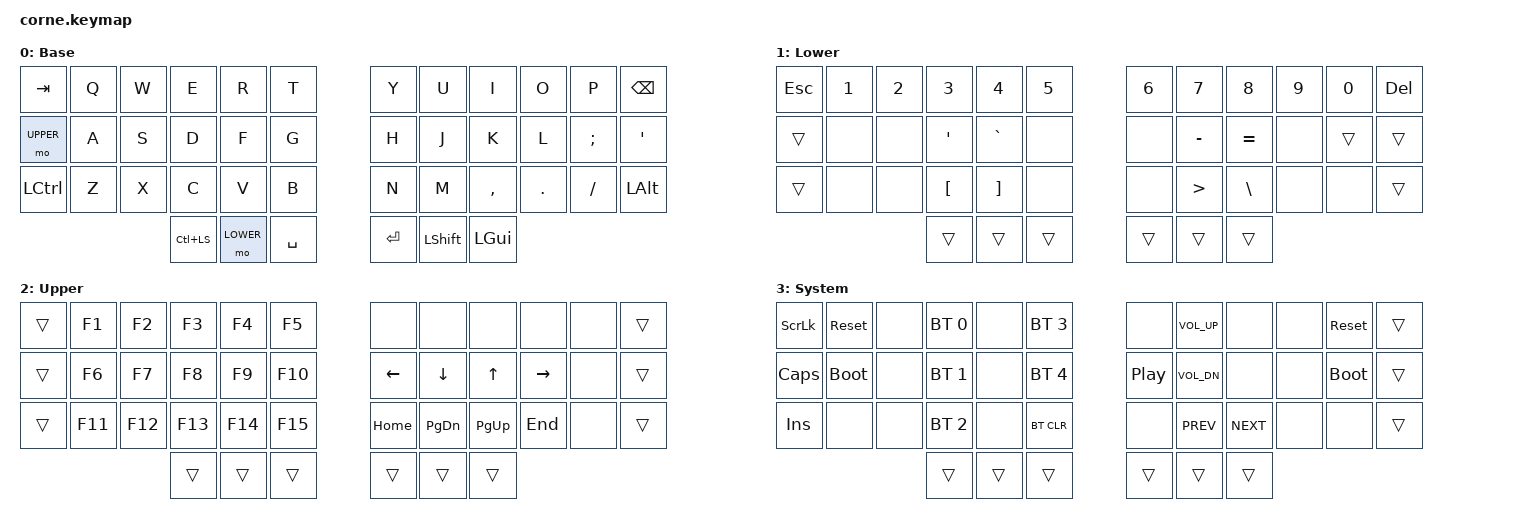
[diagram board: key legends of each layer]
/*
 * Copyright (c) 2020 The ZMK Contributors
 *
 * SPDX-License-Identifier: MIT
 */

// Author: Ryan H.
// Filename: corne.keymap
// Keymap settings for a 3x6 column Corne.

#include <behaviors.dtsi>
#include <dt-bindings/zmk/keys.h>
#include <dt-bindings/zmk/bt.h>
#include <dt-bindings/zmk/outputs.h>

// Define layers as numbers
#define BASE 0
#define LOWER 1
#define UPPER 2
#define SYSTEM 3

// Macros:
#define ctsh LC(LS)
#define meh LC(LS(LALT))
#define hyper LC(LS(LA(LGUI)))

&lt {
    tapping-term-ms = <150>;
};

&mt {
    tapping-term-ms = <150>;
};

/ {
    conditional_layers {
        compatible = "zmk,conditional-layers";
        tri_layer {
            if-layers = <LOWER UPPER>;
            then-layer = <SYSTEM>;
        };
    };

    macros {
        dw: delete_word {
            label = "DELETE_WORD";
            compatible = "zmk,behavior-macro";
            #binding-cells = <0>;
            bindings
                = <&macro_press &kp LCTRL>
                , <&macro_tap &kp BSPC>
                , <&macro_release &kp LCTRL>
                ;
        };
    };

    keymap {
        compatible = "zmk,keymap";
        default_layer {
            label = "Base";
            bindings = <
//╭──────────┬──────────┬──────────┬──────────┬──────────┬──────────╮   ╭──────────┬──────────┬──────────┬──────────┬──────────┬──────────╮
//│  TAB     │  Q       │  W       │  E       │  R       │  T       │   │  Y       │  U       │  I       │  O       │  P       │  BCPC    │
   &kp TAB    &kp Q      &kp W      &kp E      &kp R      &kp T          &kp Y      &kp U      &kp I      &kp O      &kp P      &kp BSPC
//├──────────┼──────────┼──────────┼──────────┼──────────┼──────────┤   ├──────────┼──────────┼──────────┼──────────┼──────────┼──────────┤
//│  LSHFT   │  A       │  S       │  D       │  F       │  G       │   │  H       │  J       │  K       │  L       │  ; :     │  ' "     │
   &mo UPPER  &kp A      &kp S      &kp D      &kp F      &kp G          &kp H      &kp J      &kp K      &kp L      &kp SEMI   &kp SQT
//├──────────┼──────────┼──────────┼──────────┼──────────┼──────────┤   ├──────────┼──────────┼──────────┼──────────┼──────────┼──────────┤
//│  LCTRL   │  Z       │  X       │  C       │  V       │  B       │   │  N       │  M       │ , <      │  . >     │ / ?      │  LALT    │
   &kp LCTRL  &kp Z      &kp X      &kp C      &kp V      &kp B          &kp N      &kp M      &kp COMMA  &kp DOT    &kp FSLH   &kp LALT
//╰──────────┴──────────┴──────────┼──────────┼──────────┼──────────┤   ├──────────┼──────────┼──────────┼──────────┴──────────┴──────────╯
//                                 │ CTRLSHFT │  LOWER   │ SPACE    │   │  ENTER   │  UPPER   │ LGUI     │
                                    &kp ctsh   &mo LOWER  &kp SPACE      &kp ENTER  &kp LSHFT  &kp LGUI
//                                 ╰──────────┴──────────┴──────────╯   ╰──────────┴──────────┴──────────╯
                        >;
                };
  
        lower_layer {
            label = "Lower";
            bindings = <
//╭──────────┬──────────┬──────────┬──────────┬──────────┬──────────╮   ╭──────────┬──────────┬──────────┬──────────┬──────────┬──────────╮
//│  ESC     │  1 !     │  2 @     │  3 #     │  4 $     │  5 %     │   │  6 ^     │  7 &     │  8 *     │  9 (     │  0 )     │  DEL     │
   &kp ESC    &kp N1     &kp N2     &kp N3     &kp N4     &kp N5         &kp N6     &kp N7     &kp N8     &kp N9     &kp N0     &kp DEL
//├──────────┼──────────┼──────────┼──────────┼──────────┼──────────┤   ├──────────┼──────────┼──────────┼──────────┼──────────┼──────────┤
//│          │          │          │  ' "     │  ` ~     │          │   │          │  - _     │  = +     │          │          │          │
   &trans     &none      &none      &kp SQT    &kp GRAVE  &none          &none      &kp MINUS  &kp EQUAL  &none      &trans     &trans
//├──────────┼──────────┼──────────┼──────────┼──────────┼──────────┤   ├──────────┼──────────┼──────────┼──────────┼──────────┼──────────┤
//│          │          │          │  [ {     │  ] }     │          │   │          │   >      │  \ |     │          │          │          │
   &trans     &none      &none      &kp LBKT   &kp RBKT   &none          &none      &kp GT     &kp BSLH   &none      &none      &trans
//╰──────────┴──────────┴──────────┼──────────┼──────────┼──────────┤   ├──────────┼──────────┼──────────┼──────────┴──────────┴──────────╯
//                                 │          │          │          │   │          │          │          │
                                    &trans     &trans     &trans         &trans     &trans     &trans
//                                 ╰──────────┴──────────┴──────────╯   ╰──────────┴──────────┴──────────╯
                        >;
                };

        upper_layer {
            label = "Upper";
            bindings = <
//╭──────────┬──────────┬──────────┬──────────┬──────────┬──────────╮   ╭──────────┬──────────┬──────────┬──────────┬──────────┬──────────╮
//│          │  F1      │  F2      │  F3      │  F4      │  F5      │   │          │          │          │          │          │          │
   &trans     &kp F1     &kp F2     &kp F3     &kp F4     &kp F5         &none      &none      &none      &none      &none      &trans
//├──────────┼──────────┼──────────┼──────────┼──────────┼──────────┤   ├──────────┼──────────┼──────────┼──────────┼──────────┼──────────┤
//│          │  F6      │  F7      │  F8      │  F9      │  F10     │   │  LEFT    │  DOWN    │  UP      │  RIGHT   │          │          │
   &trans     &kp F6     &kp F7     &kp F8     &kp F9     &kp F10        &kp LEFT   &kp DOWN   &kp UP     &kp RIGHT  &none      &trans
//├──────────┼──────────┼──────────┼──────────┼──────────┼──────────┤   ├──────────┼──────────┼──────────┼──────────┼──────────┼──────────┤
//│          │  F11     │  F12     │  F13     │  F14     │  F15     │   │  HOME    │  PG DOWN │  PG UP   │  END     │          │          │
   &trans     &kp F11    &kp F12    &kp F13    &kp F14    &kp F15        &kp HOME   &kp PG_DN  &kp PG_UP  &kp END    &none      &trans
//╰──────────┴──────────┴──────────┼──────────┼──────────┼──────────┤   ├──────────┼──────────┼──────────┼──────────┴──────────┴──────────╯
//                                 │          │          │          │   │          │          │          │
                                    &trans     &trans     &trans         &trans     &trans     &trans
//                                 ╰──────────┴──────────┴──────────╯   ╰──────────┴──────────┴──────────╯
                        >;
                };

        system_layer {
            label = "System";
            bindings = <
//╭──────────┬──────────┬──────────┬──────────┬──────────┬──────────╮   ╭──────────┬──────────┬──────────┬──────────┬──────────┬──────────╮
//│  SLCK    │  RESET   │          │PROFILE 0 │          │PROFILE 3 │   │          │  VOL UP  │          │          │  RESET   │          │
   &kp SLCK   &sys_reset  &none    &bt BT_SEL 0 &none    &bt BT_SEL 3    &none     &kp C_VOL_UP &none     &none      &sys_reset &trans
//├──────────┼──────────┼──────────┼──────────┼──────────┼──────────┤   ├──────────┼──────────┼──────────┼──────────┼──────────┼──────────┤
//│  CAPS    │BOOTLOADER│          │PROFILE 1 │          │PROFILE 4 │   │  PP      │  VOL DN  │          │          │BOOTLOADER│          │
   &kp CAPS   &bootloader &none    &bt BT_SEL 1 &none    &bt BT_SEL 4    &kp C_PP  &kp C_VOL_DN &none     &none     &bootloader &trans
//├──────────┼──────────┼──────────┼──────────┼──────────┼──────────┤   ├──────────┼──────────┼──────────┼──────────┼──────────┼──────────┤
//│  INS     │          │          │PROFILE 2 │          │ CLEAR BT │   │          │  PG DOWN │  PG UP   │          │          │          │
   &kp INS    &none      &none     &bt BT_SEL 2 &none    &bt BT_CLR      &none      &kp C_PREV &kp C_NEXT &none      &none      &trans
//╰──────────┴──────────┴──────────┼──────────┼──────────┼──────────┤   ├──────────┼──────────┼──────────┼──────────┴──────────┴──────────╯
//                                 │          │          │          │   │          │          │          │
                                    &trans     &trans     &trans         &trans     &trans     &trans
//                                 ╰──────────┴──────────┴──────────╯   ╰──────────┴──────────┴──────────╯
                        >;
                };
        };
};
